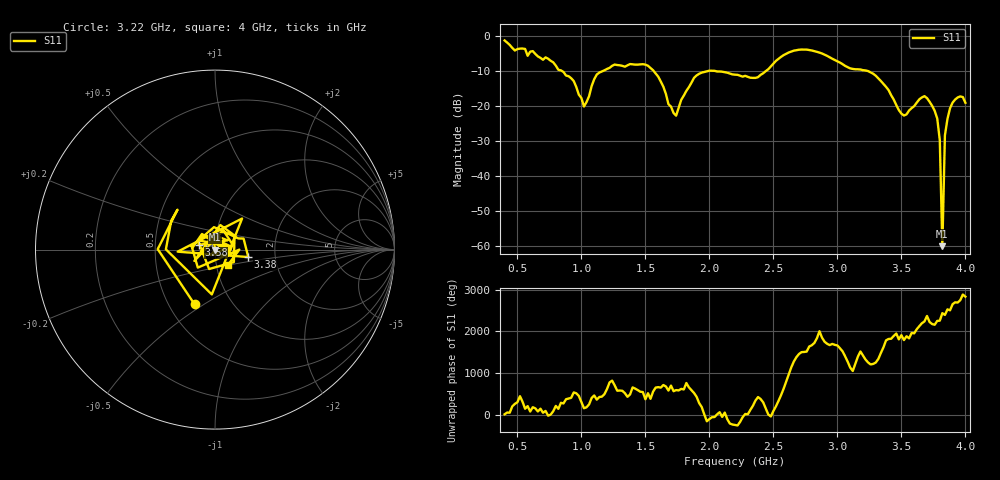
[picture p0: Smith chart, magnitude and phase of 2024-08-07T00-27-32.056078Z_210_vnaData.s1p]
!Created with skrf (http://scikit-rf.org).
# Hz S RI R 50.0
!freq ReS11 ImS11
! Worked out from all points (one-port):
!   181 points, 400 MHz to 4 GHz, reference 50 ohm
!   lowest |S11| = -59.9 dB at 3.82 GHz (marker M1), VSWR 1.00, Z = 50 - j0.1 ohm
!   |S11| at or under -10 dB: 1.567 GHz to 1.98 GHz (412.9 MHz wide, 23.3 % of centre); 2.057 GHz to 2.438 GHz (381.5 MHz wide, 17 % of centre); 3.244 GHz to end of sweep (the widest 3 of 4)
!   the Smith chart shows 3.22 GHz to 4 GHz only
!   S11 on the Smith chart (normalised r, x): 3.22 GHz: 0.67, -0.46; 3.38 GHz: 1.45, -0.13; 3.58 GHz: 0.83, +0.04; 4 GHz: 1.13, -0.20
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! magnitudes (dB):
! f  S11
! 400 MHz  -1.2
! 860 MHz  -10.2
! 940 MHz  -12.8
! 1.02 GHz  -20.0
! 1.12 GHz  -10.9
! 1.3 GHz  -8.3
! 1.52 GHz  -8.4
! 1.6 GHz  -11.5
! 1.72 GHz  -21.9
! 1.76 GHz  -20.4
! 1.92 GHz  -10.7
! 2.2 GHz  -10.9
! 2.38 GHz  -11.6
! 2.66 GHz  -4.1
! 3.1 GHz  -9.1
! 3.22 GHz  -9.7
! 3.38 GHz  -14.4
! 3.5 GHz  -22.1
! 3.56 GHz  -21.2
! 3.58 GHz  -20.5
! 3.68 GHz  -17.1
! 3.78 GHz  -23.5
! 3.8 GHz  -29.7
! 3.82 GHz  -59.9
! 3.84 GHz  -28.3
! 3.86 GHz  -23.6
! 3.92 GHz  -18.0
! 4 GHz  -19.0
